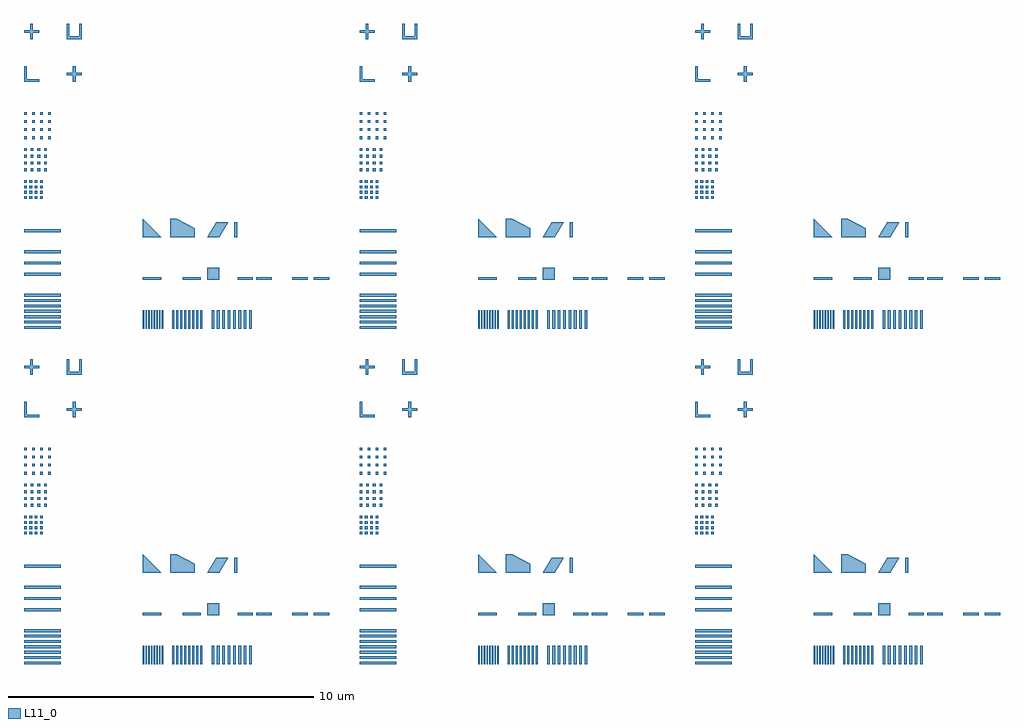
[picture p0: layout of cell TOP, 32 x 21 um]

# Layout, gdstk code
import gdstk
lib = gdstk.Library(unit=1e-6, precision=1e-09)
def R(c, l, rs):  # rectangles x0, y0, x1, y1
    for r in rs: c.add(gdstk.rectangle(r[:2], r[2:], *l))
def A(c, l, x, y, w, h, nx, ny, dx, dy):  # array of equal rectangles
    R(c, l, [(x+i*dx, y+j*dy, x+i*dx+w, y+j*dy+h) for i in range(nx) for j in range(ny)])
def P(c, l, *ps):  # polygons
    for p in ps: c.add(gdstk.Polygon(p, *l))
L11_0 = (11, 0)

top = lib.new_cell('TOP')
A(top, L11_0, 0.1, 0.1, 1.2, 0.088, 3, 7, 11, 0.176)
A(top, L11_0, 4, 0.1, 0.044, 0.6, 8, 2, 0.088, 11)
A(top, L11_0, 4.96, 0.1, 0.066, 0.6, 8, 2, 0.132, 11)
A(top, L11_0, 6.25, 0.1, 0.088, 0.6, 8, 2, 0.176, 11)
A(top, L11_0, 15, 0.1, 0.044, 0.6, 8, 2, 0.088, 11)
A(top, L11_0, 15.96, 0.1, 0.066, 0.6, 8, 2, 0.132, 11)
A(top, L11_0, 17.25, 0.1, 0.088, 0.6, 8, 2, 0.176, 11)
A(top, L11_0, 26, 0.1, 0.044, 0.6, 8, 2, 0.088, 11)
A(top, L11_0, 26.96, 0.1, 0.066, 0.6, 8, 2, 0.132, 11)
A(top, L11_0, 28.25, 0.1, 0.088, 0.6, 8, 2, 0.176, 11)
A(top, L11_0, 6.1, 1.7, 0.4, 0.4, 3, 2, 11, 11)
A(top, L11_0, 0.1, 1.844, 1.2, 0.088, 3, 3, 11, 0.368)
A(top, L11_0, 7, 3.1, 0.088, 0.5, 3, 2, 11, 11)
A(top, L11_0, 0.1, 3.268, 1.2, 0.088, 3, 2, 11, 7.832)
A(top, L11_0, 0.1, 4.356, 0.088, 0.088, 4, 4, 0.176, 0.176)
A(top, L11_0, 11.1, 4.356, 0.088, 0.088, 4, 4, 0.176, 0.176)
A(top, L11_0, 22.1, 4.356, 0.088, 0.088, 4, 4, 0.176, 0.176)
A(top, L11_0, 0.1, 5.272, 0.088, 0.088, 4, 4, 0.22, 0.22)
A(top, L11_0, 11.1, 5.272, 0.088, 0.088, 4, 4, 0.22, 0.22)
A(top, L11_0, 22.1, 5.272, 0.088, 0.088, 4, 4, 0.22, 0.22)
A(top, L11_0, 0.1, 6.32, 0.088, 0.088, 4, 4, 0.264, 0.264)
A(top, L11_0, 11.1, 6.32, 0.088, 0.088, 4, 4, 0.264, 0.264)
A(top, L11_0, 22.1, 6.32, 0.088, 0.088, 4, 4, 0.264, 0.264)
A(top, L11_0, 0.1, 11.276, 1.2, 0.088, 3, 6, 11, 0.176)
A(top, L11_0, 0.1, 12.844, 1.2, 0.088, 3, 3, 11, 0.368)
A(top, L11_0, 0.1, 14.268, 1.2, 0.088, 3, 1, 11, 0)
A(top, L11_0, 0.1, 15.356, 0.088, 0.088, 4, 4, 0.176, 0.176)
A(top, L11_0, 11.1, 15.356, 0.088, 0.088, 4, 4, 0.176, 0.176)
A(top, L11_0, 22.1, 15.356, 0.088, 0.088, 4, 4, 0.176, 0.176)
A(top, L11_0, 0.1, 16.272, 0.088, 0.088, 4, 4, 0.22, 0.22)
A(top, L11_0, 11.1, 16.272, 0.088, 0.088, 4, 4, 0.22, 0.22)
A(top, L11_0, 22.1, 16.272, 0.088, 0.088, 4, 4, 0.22, 0.22)
A(top, L11_0, 0.1, 17.32, 0.088, 0.088, 4, 4, 0.264, 0.264)
A(top, L11_0, 11.1, 17.32, 0.088, 0.088, 4, 4, 0.264, 0.264)
A(top, L11_0, 22.1, 17.32, 0.088, 0.088, 4, 4, 0.264, 0.264)
R(top, L11_0, [(4,1.7,4.6,1.788), (5.3,1.7,5.9,1.788), (7.1,1.7,7.6,1.788), (7.72,1.7,8.22,1.788), (8.9,1.7,9.4,1.788), (9.6,1.7,10.1,1.788), (15,1.7,15.6,1.788), (16.3,1.7,16.9,1.788), (18.1,1.7,18.6,1.788), (18.72,1.7,19.22,1.788), (19.9,1.7,20.4,1.788), (20.6,1.7,21.1,1.788), (26,1.7,26.6,1.788), (27.3,1.7,27.9,1.788), (29.1,1.7,29.6,1.788), (29.72,1.7,30.22,1.788), (30.9,1.7,31.4,1.788), (31.6,1.7,32.1,1.788), (4,12.7,4.6,12.788), (5.3,12.7,5.9,12.788), (7.1,12.7,7.6,12.788), (7.72,12.7,8.22,12.788), (8.9,12.7,9.4,12.788), (9.6,12.7,10.1,12.788), (15,12.7,15.6,12.788), (16.3,12.7,16.9,12.788), (18.1,12.7,18.6,12.788), (18.72,12.7,19.22,12.788), (19.9,12.7,20.4,12.788), (20.6,12.7,21.1,12.788), (26,12.7,26.6,12.788), (27.3,12.7,27.9,12.788), (29.1,12.7,29.6,12.788), (29.72,12.7,30.22,12.788), (30.9,12.7,31.4,12.788), (31.6,12.7,32.1,12.788)])
P(top, L11_0, [(15.9,3.1),(15.9,3.7),(16.1,3.7),(16.7,3.4),(16.7,3.1)],
  [(15.9,14.1),(15.9,14.7),(16.1,14.7),(16.7,14.4),(16.7,14.1)],
  [(22.1,19.2),(22.1,19.7),(22.188,19.7),(22.188,19.288),(22.6,19.288),(22.6,19.2)],
  [(23.706,19.2),(23.706,19.406),(23.5,19.406),(23.5,19.494),(23.706,19.494),(23.706,19.7),(23.794,19.7),(23.794,19.494),(24,19.494),(24,19.406),(23.794,19.406),(23.794,19.2)],
  [(22.306,20.6),(22.306,20.806),(22.1,20.806),(22.1,20.894),(22.306,20.894),(22.306,21.1),(22.394,21.1),(22.394,20.894),(22.6,20.894),(22.6,20.806),(22.394,20.806),(22.394,20.6)],
  [(23.5,20.6),(23.5,21.1),(23.588,21.1),(23.588,20.688),(23.912,20.688),(23.912,21.1),(24,21.1),(24,20.6)],
  [(17.1,14.1),(17.4,14.6),(17.8,14.6),(17.5,14.1)],
  [(28.1,14.1),(28.4,14.6),(28.8,14.6),(28.5,14.1)],
  [(26,14.1),(26,14.7),(26.6,14.1)],
  [(26.9,14.1),(26.9,14.7),(27.1,14.7),(27.7,14.4),(27.7,14.1)],
  [(11.1,19.2),(11.1,19.7),(11.188,19.7),(11.188,19.288),(11.6,19.288),(11.6,19.2)],
  [(12.706,19.2),(12.706,19.406),(12.5,19.406),(12.5,19.494),(12.706,19.494),(12.706,19.7),(12.794,19.7),(12.794,19.494),(13,19.494),(13,19.406),(12.794,19.406),(12.794,19.2)],
  [(11.306,20.6),(11.306,20.806),(11.1,20.806),(11.1,20.894),(11.306,20.894),(11.306,21.1),(11.394,21.1),(11.394,20.894),(11.6,20.894),(11.6,20.806),(11.394,20.806),(11.394,20.6)],
  [(12.5,20.6),(12.5,21.1),(12.588,21.1),(12.588,20.688),(12.912,20.688),(12.912,21.1),(13,21.1),(13,20.6)],
  [(0.1,19.2),(0.1,19.7),(0.188,19.7),(0.188,19.288),(0.6,19.288),(0.6,19.2)],
  [(1.706,19.2),(1.706,19.406),(1.5,19.406),(1.5,19.494),(1.706,19.494),(1.706,19.7),(1.794,19.7),(1.794,19.494),(2,19.494),(2,19.406),(1.794,19.406),(1.794,19.2)],
  [(0.306,20.6),(0.306,20.806),(0.1,20.806),(0.1,20.894),(0.306,20.894),(0.306,21.1),(0.394,21.1),(0.394,20.894),(0.6,20.894),(0.6,20.806),(0.394,20.806),(0.394,20.6)],
  [(1.5,20.6),(1.5,21.1),(1.588,21.1),(1.588,20.688),(1.912,20.688),(1.912,21.1),(2,21.1),(2,20.6)],
  [(6.1,14.1),(6.4,14.6),(6.8,14.6),(6.5,14.1)],
  [(4,14.1),(4,14.7),(4.6,14.1)],
  [(4.9,14.1),(4.9,14.7),(5.1,14.7),(5.7,14.4),(5.7,14.1)],
  [(15,14.1),(15,14.7),(15.6,14.1)],
  [(11.1,8.2),(11.1,8.7),(11.188,8.7),(11.188,8.288),(11.6,8.288),(11.6,8.2)],
  [(12.706,8.2),(12.706,8.406),(12.5,8.406),(12.5,8.494),(12.706,8.494),(12.706,8.7),(12.794,8.7),(12.794,8.494),(13,8.494),(13,8.406),(12.794,8.406),(12.794,8.2)],
  [(11.306,9.6),(11.306,9.806),(11.1,9.806),(11.1,9.894),(11.306,9.894),(11.306,10.1),(11.394,10.1),(11.394,9.894),(11.6,9.894),(11.6,9.806),(11.394,9.806),(11.394,9.6)],
  [(12.5,9.6),(12.5,10.1),(12.588,10.1),(12.588,9.688),(12.912,9.688),(12.912,10.1),(13,10.1),(13,9.6)],
  [(0.1,8.2),(0.1,8.7),(0.188,8.7),(0.188,8.288),(0.6,8.288),(0.6,8.2)],
  [(1.706,8.2),(1.706,8.406),(1.5,8.406),(1.5,8.494),(1.706,8.494),(1.706,8.7),(1.794,8.7),(1.794,8.494),(2,8.494),(2,8.406),(1.794,8.406),(1.794,8.2)],
  [(0.306,9.6),(0.306,9.806),(0.1,9.806),(0.1,9.894),(0.306,9.894),(0.306,10.1),(0.394,10.1),(0.394,9.894),(0.6,9.894),(0.6,9.806),(0.394,9.806),(0.394,9.6)],
  [(1.5,9.6),(1.5,10.1),(1.588,10.1),(1.588,9.688),(1.912,9.688),(1.912,10.1),(2,10.1),(2,9.6)],
  [(6.1,3.1),(6.4,3.6),(6.8,3.6),(6.5,3.1)],
  [(4,3.1),(4,3.7),(4.6,3.1)],
  [(4.9,3.1),(4.9,3.7),(5.1,3.7),(5.7,3.4),(5.7,3.1)],
  [(15,3.1),(15,3.7),(15.6,3.1)],
  [(22.1,8.2),(22.1,8.7),(22.188,8.7),(22.188,8.288),(22.6,8.288),(22.6,8.2)],
  [(23.706,8.2),(23.706,8.406),(23.5,8.406),(23.5,8.494),(23.706,8.494),(23.706,8.7),(23.794,8.7),(23.794,8.494),(24,8.494),(24,8.406),(23.794,8.406),(23.794,8.2)],
  [(22.306,9.6),(22.306,9.806),(22.1,9.806),(22.1,9.894),(22.306,9.894),(22.306,10.1),(22.394,10.1),(22.394,9.894),(22.6,9.894),(22.6,9.806),(22.394,9.806),(22.394,9.6)],
  [(23.5,9.6),(23.5,10.1),(23.588,10.1),(23.588,9.688),(23.912,9.688),(23.912,10.1),(24,10.1),(24,9.6)],
  [(17.1,3.1),(17.4,3.6),(17.8,3.6),(17.5,3.1)],
  [(26,3.1),(26,3.7),(26.6,3.1)],
  [(26.9,3.1),(26.9,3.7),(27.1,3.7),(27.7,3.4),(27.7,3.1)],
  [(28.1,3.1),(28.4,3.6),(28.8,3.6),(28.5,3.1)])

lib.write_gds('TOP.gds')
